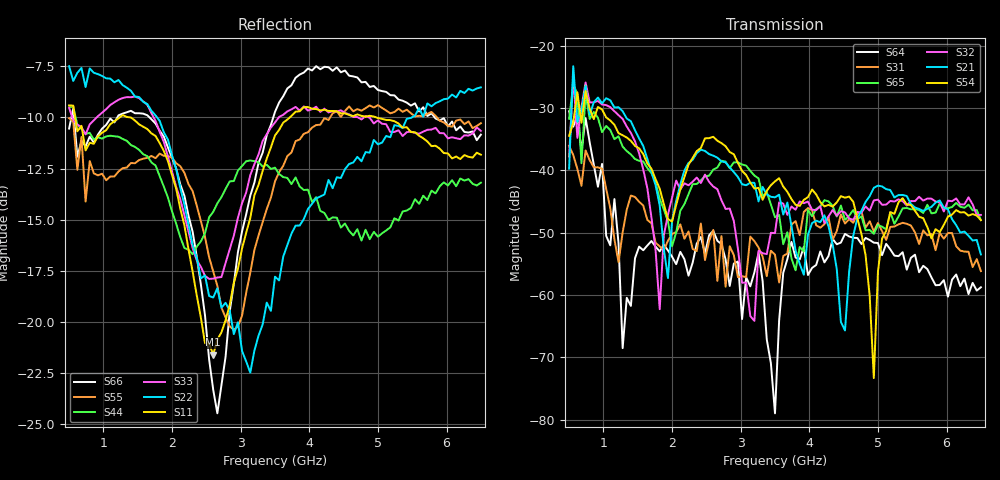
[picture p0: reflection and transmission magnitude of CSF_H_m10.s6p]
!Keysight Technologies,M9804A,MY58100912,A.14.10.03
!Date: Thursday, April 27, 2023 10:28:33
!Correction: S11(C  6-Port  )
!S12(C  6-Port  )
!S13(C  6-Port  )
!S14(C  6-Port  )
!S15(C  6-Port  )
!S16(C  6-Port  )
!S21(C  6-Port  )
!S22(C  6-Port  )
!S23(C  6-Port  )
!S24(C  6-Port  )
!S25(C  6-Port  )
!S26(C  6-Port  )
!S31(C  6-Port  )
!S32(C  6-Port  )
!S33(C  6-Port  )
!S34(C  6-Port  )
!S35(C  6-Port  )
!S36(C  6-Port  )
!S41(C  6-Port  )
!S42(C  6-Port  )
!S43(C  6-Port  )
!S44(C  6-Port  )
!S45(C  6-Port  )
!S46(C  6-Port  )
!S51(C  6-Port  )
!S52(C  6-Port  )
!S53(C  6-Port  )
!S54(C  6-Port  )
!S55(C  6-Port  )
!S56(C  6-Port  )
!S61(C  6-Port  )
!S62(C  6-Port  )
!S63(C  6-Port  )
!S64(C  6-Port  )
!S65(C  6-Port  )
!S66(C  6-Port  )
!S6P File: Measurement: :
# Hz S  RI  R 50
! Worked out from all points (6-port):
!   101 points, 500 MHz to 6.5 GHz, reference 50 ohm
!   strongest paths, dB at 500 MHz, 2 GHz, 3.5 GHz, 5 GHz, 6.5 GHz:
!     S54: -34.5, -48.2, -41.8, -56.2, -48.0
!     S21: -39.7, -48.1, -44.3, -42.4, -53.5
!     S32: -37.8, -44.4, -50.1, -44.7, -47.1
!     S65: -31.7, -52.2, -47.5, -48.8, -48.0
!     S31: -36.1, -50.2, -53.5, -48.4, -56.1
!     S64: -30.5, -53.8, -79.0, -51.6, -58.7
!   lowest |S11| = -21.6 dB at 2.6 GHz (marker M1), VSWR 1.18, Z = 42.6 + j2.04 ohm
!   |S11| at or under -10 dB: 587.7 MHz to 1.235 GHz (647 MHz wide, 71 % of centre); 1.398 GHz to 3.714 GHz (2.317 GHz wide, 90.6 % of centre); 4.977 GHz to end of sweep
